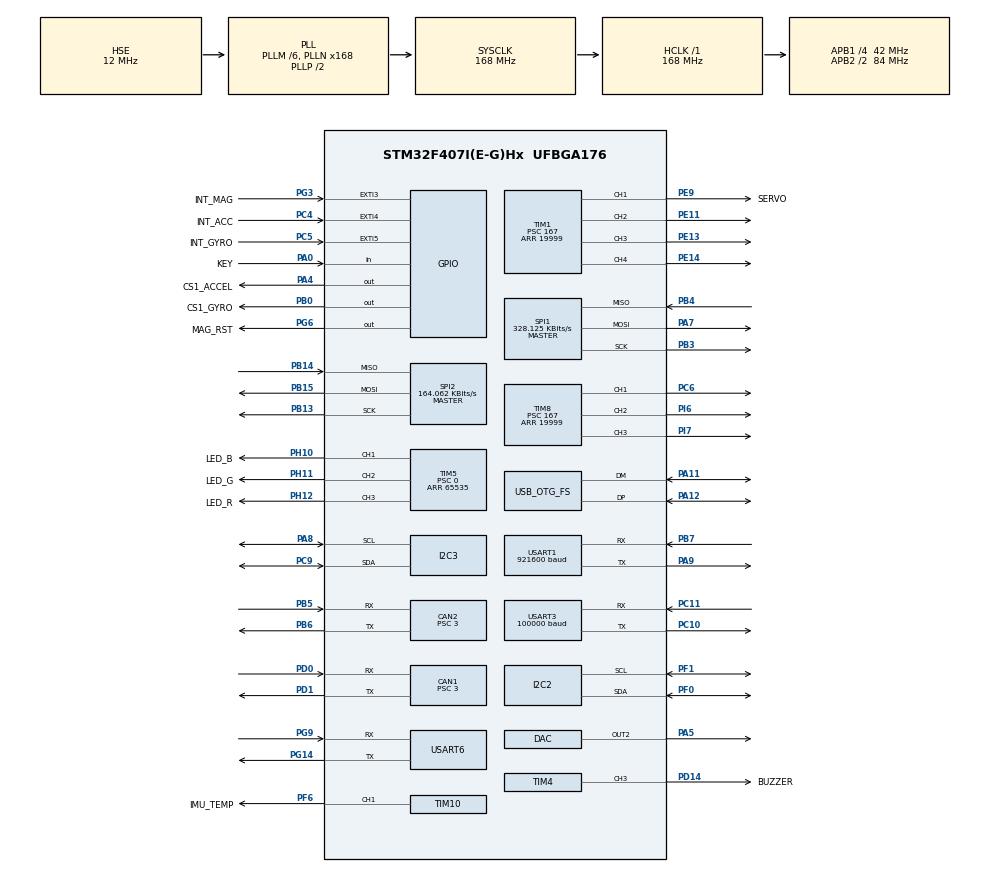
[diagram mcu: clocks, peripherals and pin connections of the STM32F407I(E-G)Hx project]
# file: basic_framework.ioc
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ADC1.Channel-0\#ChannelRegularConversion=ADC_CHANNEL_TEMPSENSOR
ADC1.ClockPrescaler=ADC_CLOCK_SYNC_PCLK_DIV6
ADC1.NbrOfConversionFlag=1
ADC1.Rank-0\#ChannelRegularConversion=1
ADC1.SamplingTime-0\#ChannelRegularConversion=ADC_SAMPLETIME_3CYCLES
ADC1.master=1
CAN1.BS1=CAN_BS1_10TQ
CAN1.BS2=CAN_BS2_3TQ
CAN1.CalculateBaudRate=1000000
CAN1.CalculateTimeQuantum=71.42857142857143
CAN1.NART=ENABLE
CAN1.Prescaler=3
CAN1.TXFP=ENABLE
CAN2.BS1=CAN_BS1_10TQ
CAN2.BS2=CAN_BS2_3TQ
CAN2.CalculateBaudRate=1000000
CAN2.CalculateTimeQuantum=71.42857142857143
CAN2.NART=ENABLE
CAN2.Prescaler=3
CAN2.TXFP=ENABLE
Dma.ADC1.8.Direction=DMA_PERIPH_TO_MEMORY
Dma.ADC1.8.FIFOMode=DMA_FIFOMODE_DISABLE
Dma.ADC1.8.Instance=DMA2_Stream4
Dma.ADC1.8.MemDataAlignment=DMA_MDATAALIGN_HALFWORD
Dma.ADC1.8.MemInc=DMA_MINC_ENABLE
Dma.ADC1.8.Mode=DMA_NORMAL
Dma.ADC1.8.PeriphDataAlignment=DMA_PDATAALIGN_HALFWORD
Dma.ADC1.8.PeriphInc=DMA_PINC_DISABLE
Dma.ADC1.8.Priority=DMA_PRIORITY_LOW
Dma.I2C2_RX.9.Direction=DMA_PERIPH_TO_MEMORY
Dma.I2C2_RX.9.FIFOMode=DMA_FIFOMODE_DISABLE
Dma.I2C2_RX.9.Instance=DMA1_Stream2
Dma.I2C2_RX.9.MemDataAlignment=DMA_MDATAALIGN_BYTE
Dma.I2C2_RX.9.MemInc=DMA_MINC_ENABLE
Dma.I2C2_RX.9.Mode=DMA_NORMAL
Dma.I2C2_RX.9.PeriphDataAlignment=DMA_PDATAALIGN_BYTE
Dma.I2C2_RX.9.PeriphInc=DMA_PINC_DISABLE
Dma.I2C2_RX.9.Priority=DMA_PRIORITY_LOW
Dma.I2C2_TX.10.Direction=DMA_MEMORY_TO_PERIPH
Dma.I2C2_TX.10.FIFOMode=DMA_FIFOMODE_DISABLE
Dma.I2C2_TX.10.Instance=DMA1_Stream7
Dma.I2C2_TX.10.MemDataAlignment=DMA_MDATAALIGN_BYTE
Dma.I2C2_TX.10.MemInc=DMA_MINC_ENABLE
Dma.I2C2_TX.10.Mode=DMA_NORMAL
Dma.I2C2_TX.10.PeriphDataAlignment=DMA_PDATAALIGN_BYTE
Dma.I2C2_TX.10.PeriphInc=DMA_PINC_DISABLE
Dma.I2C2_TX.10.Priority=DMA_PRIORITY_LOW
Dma.Request0=USART6_RX
Dma.Request1=USART6_TX
Dma.Request10=I2C2_TX
Dma.Request11=SPI1_TX
Dma.Request2=USART1_TX
Dma.Request3=USART1_RX
Dma.Request4=SPI1_RX
Dma.Request5=SPI2_RX
Dma.Request6=SPI2_TX
Dma.Request7=USART3_RX
Dma.Request8=ADC1
Dma.Request9=I2C2_RX
Dma.SPI1_RX.4.Direction=DMA_PERIPH_TO_MEMORY
Dma.SPI1_RX.4.FIFOMode=DMA_FIFOMODE_ENABLE
Dma.SPI1_RX.4.FIFOThreshold=DMA_FIFO_THRESHOLD_FULL
Dma.SPI1_RX.4.Instance=DMA2_Stream0
Dma.SPI1_RX.4.MemBurst=DMA_MBURST_SINGLE
Dma.SPI1_RX.4.MemDataAlignment=DMA_MDATAALIGN_BYTE
Dma.SPI1_RX.4.MemInc=DMA_MINC_ENABLE
Dma.SPI1_RX.4.Mode=DMA_NORMAL
Dma.SPI1_RX.4.PeriphBurst=DMA_PBURST_SINGLE
Dma.SPI1_RX.4.PeriphDataAlignment=DMA_PDATAALIGN_BYTE
Dma.SPI1_RX.4.PeriphInc=DMA_PINC_DISABLE
Dma.SPI1_RX.4.Priority=DMA_PRIORITY_LOW
Dma.SPI1_TX.11.Direction=DMA_MEMORY_TO_PERIPH
Dma.SPI1_TX.11.FIFOMode=DMA_FIFOMODE_DISABLE
Dma.SPI1_TX.11.Instance=DMA2_Stream3
Dma.SPI1_TX.11.MemDataAlignment=DMA_MDATAALIGN_BYTE
Dma.SPI1_TX.11.MemInc=DMA_MINC_ENABLE
Dma.SPI1_TX.11.Mode=DMA_NORMAL
Dma.SPI1_TX.11.PeriphDataAlignment=DMA_PDATAALIGN_BYTE
Dma.SPI1_TX.11.PeriphInc=DMA_PINC_DISABLE
Dma.SPI1_TX.11.Priority=DMA_PRIORITY_LOW
Dma.SPI2_RX.5.Direction=DMA_PERIPH_TO_MEMORY
Dma.SPI2_RX.5.FIFOMode=DMA_FIFOMODE_ENABLE
Dma.SPI2_RX.5.FIFOThreshold=DMA_FIFO_THRESHOLD_FULL
Dma.SPI2_RX.5.Instance=DMA1_Stream3
Dma.SPI2_RX.5.MemBurst=DMA_MBURST_SINGLE
Dma.SPI2_RX.5.MemDataAlignment=DMA_MDATAALIGN_BYTE
Dma.SPI2_RX.5.MemInc=DMA_MINC_ENABLE
Dma.SPI2_RX.5.Mode=DMA_NORMAL
Dma.SPI2_RX.5.PeriphBurst=DMA_PBURST_SINGLE
Dma.SPI2_RX.5.PeriphDataAlignment=DMA_PDATAALIGN_BYTE
Dma.SPI2_RX.5.PeriphInc=DMA_PINC_DISABLE
Dma.SPI2_RX.5.Priority=DMA_PRIORITY_LOW
Dma.SPI2_TX.6.Direction=DMA_MEMORY_TO_PERIPH
Dma.SPI2_TX.6.FIFOMode=DMA_FIFOMODE_ENABLE
Dma.SPI2_TX.6.FIFOThreshold=DMA_FIFO_THRESHOLD_FULL
Dma.SPI2_TX.6.Instance=DMA1_Stream4
Dma.SPI2_TX.6.MemBurst=DMA_MBURST_SINGLE
Dma.SPI2_TX.6.MemDataAlignment=DMA_MDATAALIGN_BYTE
Dma.SPI2_TX.6.MemInc=DMA_MINC_ENABLE
Dma.SPI2_TX.6.Mode=DMA_NORMAL
Dma.SPI2_TX.6.PeriphBurst=DMA_PBURST_SINGLE
Dma.SPI2_TX.6.PeriphDataAlignment=DMA_PDATAALIGN_BYTE
Dma.SPI2_TX.6.PeriphInc=DMA_PINC_DISABLE
Dma.SPI2_TX.6.Priority=DMA_PRIORITY_LOW
Dma.USART1_RX.3.Direction=DMA_PERIPH_TO_MEMORY
Dma.USART1_RX.3.FIFOMode=DMA_FIFOMODE_DISABLE
Dma.USART1_RX.3.Instance=DMA2_Stream5
Dma.USART1_RX.3.MemDataAlignment=DMA_MDATAALIGN_BYTE
Dma.USART1_RX.3.MemInc=DMA_MINC_ENABLE
Dma.USART1_RX.3.Mode=DMA_NORMAL
Dma.USART1_RX.3.PeriphDataAlignment=DMA_PDATAALIGN_BYTE
Dma.USART1_RX.3.PeriphInc=DMA_PINC_DISABLE
Dma.USART1_RX.3.Priority=DMA_PRIORITY_VERY_HIGH
Dma.USART1_TX.2.Direction=DMA_MEMORY_TO_PERIPH
Dma.USART1_TX.2.FIFOMode=DMA_FIFOMODE_DISABLE
Dma.USART1_TX.2.Instance=DMA2_Stream7
Dma.USART1_TX.2.MemDataAlignment=DMA_MDATAALIGN_BYTE
Dma.USART1_TX.2.MemInc=DMA_MINC_ENABLE
Dma.USART1_TX.2.Mode=DMA_NORMAL
Dma.USART1_TX.2.PeriphDataAlignment=DMA_PDATAALIGN_BYTE
Dma.USART1_TX.2.PeriphInc=DMA_PINC_DISABLE
Dma.USART1_TX.2.Priority=DMA_PRIORITY_VERY_HIGH
Dma.USART3_RX.7.Direction=DMA_PERIPH_TO_MEMORY
Dma.USART3_RX.7.FIFOMode=DMA_FIFOMODE_DISABLE
Dma.USART3_RX.7.Instance=DMA1_Stream1
Dma.USART3_RX.7.MemDataAlignment=DMA_MDATAALIGN_BYTE
Dma.USART3_RX.7.MemInc=DMA_MINC_ENABLE
Dma.USART3_RX.7.Mode=DMA_NORMAL
Dma.USART3_RX.7.PeriphDataAlignment=DMA_PDATAALIGN_BYTE
Dma.USART3_RX.7.PeriphInc=DMA_PINC_DISABLE
Dma.USART3_RX.7.Priority=DMA_PRIORITY_LOW
Dma.USART6_RX.0.Direction=DMA_PERIPH_TO_MEMORY
Dma.USART6_RX.0.FIFOMode=DMA_FIFOMODE_ENABLE
Dma.USART6_RX.0.FIFOThreshold=DMA_FIFO_THRESHOLD_FULL
Dma.USART6_RX.0.Instance=DMA2_Stream2
Dma.USART6_RX.0.MemBurst=DMA_MBURST_SINGLE
Dma.USART6_RX.0.MemDataAlignment=DMA_MDATAALIGN_BYTE
Dma.USART6_RX.0.MemInc=DMA_MINC_ENABLE
Dma.USART6_RX.0.Mode=DMA_NORMAL
Dma.USART6_RX.0.PeriphBurst=DMA_PBURST_SINGLE
Dma.USART6_RX.0.PeriphDataAlignment=DMA_PDATAALIGN_BYTE
Dma.USART6_RX.0.PeriphInc=DMA_PINC_DISABLE
Dma.USART6_RX.0.Priority=DMA_PRIORITY_HIGH
Dma.USART6_TX.1.Direction=DMA_MEMORY_TO_PERIPH
Dma.USART6_TX.1.FIFOMode=DMA_FIFOMODE_ENABLE
Dma.USART6_TX.1.FIFOThreshold=DMA_FIFO_THRESHOLD_FULL
Dma.USART6_TX.1.Instance=DMA2_Stream6
Dma.USART6_TX.1.MemBurst=DMA_MBURST_SINGLE
Dma.USART6_TX.1.MemDataAlignment=DMA_MDATAALIGN_BYTE
Dma.USART6_TX.1.MemInc=DMA_MINC_ENABLE
Dma.USART6_TX.1.Mode=DMA_NORMAL
Dma.USART6_TX.1.PeriphBurst=DMA_PBURST_SINGLE
Dma.USART6_TX.1.PeriphDataAlignment=DMA_PDATAALIGN_BYTE
Dma.USART6_TX.1.PeriphInc=DMA_PINC_DISABLE
Dma.USART6_TX.1.Priority=DMA_PRIORITY_HIGH
FREERTOS.INCLUDE_vTaskDelayUntil=1
FREERTOS.Tasks01=defaultTask,0,128,StartDefaultTask,Default,NULL,Dynamic,NULL,NULL
FREERTOS.configENABLE_FPU=1
FREERTOS.configMAX_TASK_NAME_LEN=32
FREERTOS.configUSE_POSIX_ERRNO=0
FREERTOS.configUSE_TIMERS=0
I2C2.I2C_Mode=I2C_Fast
I2C3.I2C_Mode=I2C_Fast
Mcu.Family=STM32F4
Mcu.Name=STM32F407I(E-G)Hx
Mcu.Package=UFBGA176
NVIC.CAN1_RX0_IRQn=true\:5\:0\:true\:false\:true\:true\:true\:true\:true
NVIC.CAN1_RX1_IRQn=true\:5\:0\:false\:false\:true\:true\:true\:true\:true
NVIC.CAN2_RX0_IRQn=true\:5\:0\:true\:false\:true\:true\:true\:true\:true
NVIC.CAN2_RX1_IRQn=true\:5\:0\:false\:false\:true\:true\:true\:true\:true
NVIC.DMA1_Stream1_IRQn=true\:5\:0\:false\:false\:true\:true\:false\:true\:true
NVIC.DMA1_Stream2_IRQn=true\:5\:0\:false\:false\:true\:true\:false\:true\:true
NVIC.DMA1_Stream3_IRQn=true\:5\:0\:false\:false\:true\:true\:false\:true\:true
NVIC.DMA1_Stream4_IRQn=true\:5\:0\:false\:false\:true\:true\:false\:true\:true
NVIC.DMA1_Stream7_IRQn=true\:5\:0\:false\:false\:true\:true\:false\:true\:true
NVIC.DMA2_Stream0_IRQn=true\:5\:0\:false\:false\:true\:true\:false\:true\:true
NVIC.DMA2_Stream2_IRQn=true\:5\:0\:false\:false\:true\:true\:false\:true\:true
NVIC.DMA2_Stream3_IRQn=true\:5\:0\:false\:false\:true\:true\:false\:true\:true
NVIC.DMA2_Stream4_IRQn=true\:5\:0\:false\:false\:true\:true\:false\:true\:true
NVIC.DMA2_Stream5_IRQn=true\:5\:0\:false\:false\:true\:true\:false\:true\:true
NVIC.DMA2_Stream6_IRQn=true\:5\:0\:true\:false\:true\:true\:false\:true\:true
NVIC.DMA2_Stream7_IRQn=true\:5\:0\:true\:false\:true\:true\:false\:true\:true
NVIC.EXTI3_IRQn=true\:5\:0\:true\:false\:true\:true\:true\:true\:true
NVIC.EXTI4_IRQn=true\:5\:0\:false\:false\:true\:true\:true\:true\:true
NVIC.EXTI9_5_IRQn=true\:5\:0\:false\:false\:true\:true\:true\:true\:true
NVIC.I2C2_ER_IRQn=true\:5\:0\:false\:false\:true\:true\:true\:true\:true
NVIC.I2C2_EV_IRQn=true\:5\:0\:false\:false\:true\:true\:true\:true\:true
NVIC.I2C3_ER_IRQn=true\:5\:0\:false\:false\:true\:true\:true\:true\:true
NVIC.I2C3_EV_IRQn=true\:5\:0\:false\:false\:true\:true\:true\:true\:true
NVIC.OTG_FS_IRQn=true\:5\:0\:false\:false\:true\:true\:false\:true\:true
NVIC.PriorityGroup=NVIC_PRIORITYGROUP_4
NVIC.SPI1_IRQn=true\:5\:0\:false\:false\:true\:true\:true\:true\:true
NVIC.SPI2_IRQn=true\:5\:0\:false\:false\:true\:true\:true\:true\:true
NVIC.TIM8_TRG_COM_TIM14_IRQn=true\:15\:0\:false\:false\:true\:false\:false\:true\:true
NVIC.TimeBase=TIM8_TRG_COM_TIM14_IRQn
NVIC.TimeBaseIP=TIM14
NVIC.USART1_IRQn=true\:5\:0\:false\:false\:true\:true\:true\:true\:true
NVIC.USART3_IRQn=true\:5\:0\:false\:false\:true\:true\:true\:true\:true
NVIC.USART6_IRQn=true\:5\:0\:false\:false\:true\:true\:true\:true\:true
PA0-WKUP.GPIO_Label=KEY
PA0-WKUP.GPIO_PuPd=GPIO_PULLUP
PA0-WKUP.Signal=GPIO_Input
PA10.Signal=USB_OTG_FS_ID
PA11.Mode=Device_Only
PA11.Signal=USB_OTG_FS_DM
PA12.Mode=Device_Only
PA12.Signal=USB_OTG_FS_DP
PA13.Mode=Serial_Wire
PA13.Signal=SYS_JTMS-SWDIO
PA14.Mode=Serial_Wire
PA14.Signal=SYS_JTCK-SWCLK
PA4.GPIO_Label=CS1_ACCEL
PA4.GPIO_PuPd=GPIO_PULLUP
PA4.GPIO_Speed=GPIO_SPEED_FREQ_HIGH
PA4.PinState=GPIO_PIN_SET
PA4.Signal=GPIO_Output
PA5.Signal=COMP_DAC2_group
PA7.GPIO_PuPd=GPIO_PULLUP
PA7.Mode=Full_Duplex_Master
PA7.Signal=SPI1_MOSI
PA8.Mode=I2C
PA8.Signal=I2C3_SCL
PA9.Mode=Asynchronous
PA9.Signal=USART1_TX
PB0.GPIO_Label=CS1_GYRO
PB0.GPIO_PuPd=GPIO_PULLUP
PB0.GPIO_Speed=GPIO_SPEED_FREQ_HIGH
PB0.PinState=GPIO_PIN_SET
PB0.Signal=GPIO_Output
PB13.Mode=Full_Duplex_Master
PB13.Signal=SPI2_SCK
PB14.Mode=Full_Duplex_Master
PB14.Signal=SPI2_MISO
PB15.Mode=Full_Duplex_Master
PB15.Signal=SPI2_MOSI
PB3.GPIO_PuPd=GPIO_PULLUP
PB3.Mode=Full_Duplex_Master
PB3.Signal=SPI1_SCK
PB4.GPIO_PuPd=GPIO_PULLUP
PB4.Mode=Full_Duplex_Master
PB4.Signal=SPI1_MISO
PB5.Mode=CAN_Activate
PB5.Signal=CAN2_RX
PB6.Mode=CAN_Activate
PB6.Signal=CAN2_TX
PB7.Mode=Asynchronous
PB7.Signal=USART1_RX
PC10.Mode=Asynchronous
PC10.Signal=USART3_TX
PC11.Mode=Asynchronous
PC11.Signal=USART3_RX
PC4.GPIO_Label=INT_ACC
PC4.GPIO_ModeDefaultEXTI=GPIO_MODE_IT_FALLING
PC4.Signal=GPXTI4
PC5.GPIO_Label=INT_GYRO
PC5.GPIO_ModeDefaultEXTI=GPIO_MODE_IT_FALLING
PC5.Signal=GPXTI5
PC6.Signal=S_TIM8_CH1
PC9.Mode=I2C
PC9.Signal=I2C3_SDA
PD0.Mode=CAN_Activate
PD0.Signal=CAN1_RX
PD1.Mode=CAN_Activate
PD1.Signal=CAN1_TX
PD14.GPIO_Label=BUZZER
PD14.GPIO_PuPd=GPIO_PULLUP
PD14.GPIO_Speed=GPIO_SPEED_FREQ_VERY_HIGH
PD14.Signal=S_TIM4_CH3
PE11.Signal=S_TIM1_CH2
PE13.Signal=S_TIM1_CH3
PE14.Signal=S_TIM1_CH4
PE9.GPIO_Label=SERVO
PE9.Signal=S_TIM1_CH1
PF0.Mode=I2C
PF0.Signal=I2C2_SDA
PF1.Mode=I2C
PF1.Signal=I2C2_SCL
PF6.GPIO_Label=IMU_TEMP
PF6.GPIO_PuPd=GPIO_PULLUP
PF6.GPIO_Speed=GPIO_SPEED_FREQ_HIGH
PF6.Signal=S_TIM10_CH1
PG14.Mode=Asynchronous
PG14.Signal=USART6_TX
PG3.GPIO_Label=INT_MAG
PG3.GPIO_ModeDefaultEXTI=GPIO_MODE_IT_FALLING
PG3.GPIO_PuPd=GPIO_PULLUP
PG3.Signal=GPXTI3
PG6.GPIO_Label=MAG_RST
PG6.Signal=GPIO_Output
PG9.Mode=Asynchronous
PG9.Signal=USART6_RX
PH0-OSC_IN.Mode=HSE-External-Oscillator
PH0-OSC_IN.Signal=RCC_OSC_IN
PH1-OSC_OUT.Mode=HSE-External-Oscillator
PH1-OSC_OUT.Signal=RCC_OSC_OUT
PH10.GPIO_Label=LED_B
PH10.GPIO_PuPd=GPIO_PULLUP
PH10.GPIO_Speed=GPIO_SPEED_FREQ_HIGH
PH10.Signal=S_TIM5_CH1
PH11.GPIO_Label=LED_G
PH11.GPIO_PuPd=GPIO_PULLUP
PH11.GPIO_Speed=GPIO_SPEED_FREQ_HIGH
PH11.Signal=S_TIM5_CH2
PH12.GPIO_Label=LED_R
PH12.GPIO_PuPd=GPIO_PULLUP
PH12.GPIO_Speed=GPIO_SPEED_FREQ_HIGH
PH12.Signal=S_TIM5_CH3
PI6.Signal=S_TIM8_CH2
PI7.Signal=S_TIM8_CH3
ProjectManager.HeapSize=0x4000
ProjectManager.StackSize=0x4000
ProjectManager.TargetToolchain=Makefile
RCC.48MHZClocksFreq_Value=48000000
RCC.AHBFreq_Value=168000000
RCC.APB1CLKDivider=RCC_HCLK_DIV4
RCC.APB1Freq_Value=42000000
RCC.APB1TimFreq_Value=84000000
RCC.APB2CLKDivider=RCC_HCLK_DIV2
RCC.APB2Freq_Value=84000000
RCC.APB2TimFreq_Value=168000000
RCC.CortexFreq_Value=168000000
RCC.HCLKFreq_Value=168000000
RCC.HSE_VALUE=12000000
RCC.HSI_VALUE=16000000
RCC.LSE_VALUE=32768
RCC.PLLM=6
RCC.PLLN=168
RCC.PLLQ=7
RCC.RCC_RTC_Clock_SourceVirtual=RCC_RTCCLKSOURCE_HSE_DIV30
RCC.RCC_RTC_Clock_Source_FROM_HSE=RCC_RTCCLKSOURCE_HSE_DIV30
RCC.SYSCLKFreq_VALUE=168000000
RCC.SYSCLKSource=RCC_SYSCLKSOURCE_PLLCLK
RCC.VCOOutputFreq_Value=336000000
RTC.AsynchPrediv=124
RTC.SynchPrediv=3199
SH.COMP_DAC2_group.0=DAC_OUT2,DAC_OUT2
SH.S_TIM10_CH1.0=TIM10_CH1,PWM Generation1 CH1
SH.S_TIM1_CH1.0=TIM1_CH1,PWM Generation1 CH1
SH.S_TIM1_CH2.0=TIM1_CH2,PWM Generation2 CH2
SH.S_TIM1_CH3.0=TIM1_CH3,PWM Generation3 CH3
SH.S_TIM1_CH4.0=TIM1_CH4,PWM Generation4 CH4
SH.S_TIM4_CH3.0=TIM4_CH3,PWM Generation3 CH3
SH.S_TIM5_CH1.0=TIM5_CH1,PWM Generation1 CH1
SH.S_TIM5_CH2.0=TIM5_CH2,PWM Generation2 CH2
SH.S_TIM5_CH3.0=TIM5_CH3,PWM Generation3 CH3
SH.S_TIM8_CH1.0=TIM8_CH1,Output Compare1 CH1
SH.S_TIM8_CH2.0=TIM8_CH2,Output Compare2 CH2
SH.S_TIM8_CH3.0=TIM8_CH3,Output Compare3 CH3
SPI1.BaudRatePrescaler=SPI_BAUDRATEPRESCALER_256
SPI1.CLKPhase=SPI_PHASE_2EDGE
SPI1.CLKPolarity=SPI_POLARITY_HIGH
SPI1.CalculateBaudRate=328.125 KBits/s
SPI1.Direction=SPI_DIRECTION_2LINES
SPI1.Mode=SPI_MODE_MASTER
SPI1.VirtualType=VM_MASTER
SPI2.BaudRatePrescaler=SPI_BAUDRATEPRESCALER_256
SPI2.CLKPhase=SPI_PHASE_2EDGE
SPI2.CLKPolarity=SPI_POLARITY_HIGH
SPI2.CalculateBaudRate=164.062 KBits/s
SPI2.Direction=SPI_DIRECTION_2LINES
SPI2.Mode=SPI_MODE_MASTER
SPI2.VirtualType=VM_MASTER
STMicroelectronics.X-CUBE-ALGOBUILD.1.3.0.LibraryCcDSPOoLibraryJjDSPOoLibrary=true
TIM1.Channel-PWM\ Generation1\ CH1=TIM_CHANNEL_1
TIM1.Channel-PWM\ Generation2\ CH2=TIM_CHANNEL_2
TIM1.Channel-PWM\ Generation3\ CH3=TIM_CHANNEL_3
TIM1.Channel-PWM\ Generation4\ CH4=TIM_CHANNEL_4
TIM1.Period=19999
TIM1.Prescaler=167
TIM10.Channel=TIM_CHANNEL_1
TIM10.Period=5000-1
TIM10.Prescaler=167
TIM4.Channel-PWM\ Generation3\ CH3=TIM_CHANNEL_3
TIM4.Period=65535
TIM4.Prescaler=167
TIM5.Channel-PWM\ Generation1\ CH1=TIM_CHANNEL_1
TIM5.Channel-PWM\ Generation2\ CH2=TIM_CHANNEL_2
TIM5.Channel-PWM\ Generation3\ CH3=TIM_CHANNEL_3
TIM5.Period=65535
TIM5.Prescaler=0
TIM8.Channel-Output\ Compare1\ CH1=TIM_CHANNEL_1
TIM8.Channel-Output\ Compare2\ CH2=TIM_CHANNEL_2
TIM8.Channel-Output\ Compare3\ CH3=TIM_CHANNEL_3
TIM8.Period=19999
TIM8.Prescaler=167
USART1.BaudRate=921600
USART1.VirtualMode=VM_ASYNC
USART3.BaudRate=100000
USART3.Parity=PARITY_EVEN
USART3.VirtualMode=VM_ASYNC
USART3.WordLength=WORDLENGTH_9B
USART6.VirtualMode=VM_ASYNC
USB_DEVICE.CLASS_NAME_FS=CDC
USB_DEVICE.MANUFACTURER_STRING-CDC_FS=YueLuEmbedded
USB_DEVICE.PID_CDC_FS=202
USB_DEVICE.PRODUCT_STRING_CDC_FS=Vision Comm port
USB_DEVICE.VirtualMode-CDC_FS=Cdc
USB_DEVICE.VirtualModeFS=Cdc_FS
USB_OTG_FS.VirtualMode=Device_Only
VP_ADC1_TempSens_Input.Mode=IN-TempSens
VP_ADC1_Vref_Input.Mode=IN-Vrefint
VP_CRC_VS_CRC.Mode=CRC_Activate
VP_FREERTOS_VS_CMSIS_V1.Mode=CMSIS_V1
VP_RNG_VS_RNG.Mode=RNG_Activate
VP_RTC_VS_RTC_Activate.Mode=RTC_Enabled
VP_STMicroelectronics.X-CUBE-ALGOBUILD_VS_DSPOoLibraryJjLibrary_1.3.0_1.3.0.Mode=DSPOoLibraryJjLibrary
VP_SYS_VS_tim14.Mode=TIM14
VP_TIM10_VS_ClockSourceINT.Mode=Enable_Timer
VP_TIM1_VS_ClockSourceINT.Mode=Internal
VP_TIM4_VS_ClockSourceINT.Mode=Internal
VP_TIM5_VS_ClockSourceINT.Mode=Internal
VP_TIM8_VS_ClockSourceINT.Mode=Internal
VP_USB_DEVICE_VS_USB_DEVICE_CDC_FS.Mode=CDC_FS
board=custom

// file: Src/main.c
/* USER CODE BEGIN Header */
/**
  ******************************************************************************
  * @file           : main.c
  * @brief          : Main program body
  ******************************************************************************
  * @attention
  *
  * Copyright (c) 2023 STMicroelectronics.
  * All rights reserved.
  *
  * This software is licensed under terms that can be found in the LICENSE file
  * in the root directory of this software component.
  * If no LICENSE file comes with this software, it is provided AS-IS.
  *
  ******************************************************************************
  */
/* USER CODE END Header */
#include "main.h"
#include "cmsis_os.h"
#include "adc.h"
#include "can.h"
#include "crc.h"
#include "dac.h"
#include "dma.h"
#include "i2c.h"
#include "rng.h"
#include "rtc.h"
#include "spi.h"
#include "tim.h"
#include "usart.h"
#include "usb_device.h"
#include "gpio.h"

/* USER CODE BEGIN Includes */
#include "robot.h"
/* USER CODE END Includes */

void SystemClock_Config(void);
void MX_FREERTOS_Init(void);

int main(void)
   {

  /* MCU Configuration--------------------------------------------------------*/

  /* Reset of all peripherals, Initializes the Flash interface and the Systick. */
  HAL_Init();

  /* Configure the system clock */
  SystemClock_Config();

  /* Initialize all configured peripherals */
  MX_GPIO_Init();
  MX_DMA_Init();
  MX_ADC1_Init();
  MX_CAN1_Init();
  MX_CAN2_Init();
  MX_SPI1_Init();
  MX_TIM4_Init();
  MX_TIM5_Init();
  MX_USART3_UART_Init();
  MX_RNG_Init();
  MX_RTC_Init();
  MX_TIM1_Init();
  MX_TIM10_Init();
  MX_USART1_UART_Init();
  MX_USART6_UART_Init();
  MX_TIM8_Init();
  MX_I2C2_Init();
  MX_I2C3_Init();
  MX_SPI2_Init();
  MX_CRC_Init();
  MX_DAC_Init();
  /* USER CODE BEGIN 2 */
	RobotInit();
  /* USER CODE END 2 */

  /* Call init function for freertos objects (in freertos.c) */
  MX_FREERTOS_Init();

  /* Start scheduler */
  osKernelStart();

  /* We should never get here as control is now taken by the scheduler */
  /* Infinite loop */
  while (1)
  {

  }
}

void SystemClock_Config(void)
{
  RCC_OscInitTypeDef RCC_OscInitStruct = {0};
  RCC_ClkInitTypeDef RCC_ClkInitStruct = {0};

  /** Configure the main internal regulator output voltage
  */
  __HAL_RCC_PWR_CLK_ENABLE();
  __HAL_PWR_VOLTAGESCALING_CONFIG(PWR_REGULATOR_VOLTAGE_SCALE1);

  /** Initializes the RCC Oscillators according to the specified parameters
  * in the RCC_OscInitTypeDef structure.
  */
  RCC_OscInitStruct.OscillatorType = RCC_OSCILLATORTYPE_HSE;
  RCC_OscInitStruct.HSEState = RCC_HSE_ON;
  RCC_OscInitStruct.PLL.PLLState = RCC_PLL_ON;
  RCC_OscInitStruct.PLL.PLLSource = RCC_PLLSOURCE_HSE;
  RCC_OscInitStruct.PLL.PLLM = 6;
  RCC_OscInitStruct.PLL.PLLN = 168;
  RCC_OscInitStruct.PLL.PLLP = RCC_PLLP_DIV2;
  RCC_OscInitStruct.PLL.PLLQ = 7;
  if (HAL_RCC_OscConfig(&RCC_OscInitStruct) != HAL_OK)
  {
    Error_Handler();
  }

  /** Initializes the CPU, AHB and APB buses clocks
  */
  RCC_ClkInitStruct.ClockType = RCC_CLOCKTYPE_HCLK|RCC_CLOCKTYPE_SYSCLK
                              |RCC_CLOCKTYPE_PCLK1|RCC_CLOCKTYPE_PCLK2;
  RCC_ClkInitStruct.SYSCLKSource = RCC_SYSCLKSOURCE_PLLCLK;
  RCC_ClkInitStruct.AHBCLKDivider = RCC_SYSCLK_DIV1;
  RCC_ClkInitStruct.APB1CLKDivider = RCC_HCLK_DIV4;
  RCC_ClkInitStruct.APB2CLKDivider = RCC_HCLK_DIV2;

  if (HAL_RCC_ClockConfig(&RCC_ClkInitStruct, FLASH_LATENCY_5) != HAL_OK)
  {
    Error_Handler();
  }
}

void HAL_TIM_PeriodElapsedCallback(TIM_HandleTypeDef *htim)
{
  if (htim->Instance == TIM14) {
    HAL_IncTick();
  }
}

void Error_Handler(void)
{
  __disable_irq();
  while (1)
  {
  }
}

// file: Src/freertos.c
/* USER CODE BEGIN Header */
/**
 ******************************************************************************
 * File Name          : freertos.c
 * Description        : Code for freertos applications
 ******************************************************************************
 * @attention
 *
 * Copyright (c) 2023 STMicroelectronics.
 * All rights reserved.
 *
 * This software is licensed under terms that can be found in the LICENSE file
 * in the root directory of this software component.
 * If no LICENSE file comes with this software, it is provided AS-IS.
 *
 ******************************************************************************
 */
/* USER CODE END Header */

#include "FreeRTOS.h"
#include "task.h"
#include "main.h"
#include "cmsis_os.h"

/* USER CODE BEGIN Includes */
#include "ins_task.h"
// #include "motor_task.h"
// #include "led_task.h"
// #include "referee_task.h"
#include "master_process.h"
#include "daemon.h"
#include "robot.h"
/* USER CODE END Includes */

/* USER CODE BEGIN Variables */
osThreadId insTaskHandle;
osThreadId ledTaskHandle;
osThreadId robotTaskHandle;
osThreadId motorTaskHandle;
osThreadId daemonTaskHandle;
osThreadId uiTaskHandle;
/* USER CODE END Variables */
osThreadId defaultTaskHandle;

/* USER CODE BEGIN FunctionPrototypes */
void StartINSTASK(void const *argument);

void StartDAEMONTASK(void const *argument);

/* USER CODE END FunctionPrototypes */

void StartDefaultTask(void const * argument);

extern void MX_USB_DEVICE_Init(void);
void MX_FREERTOS_Init(void); /* (MISRA C 2004 rule 8.1) */

/* GetIdleTaskMemory prototype (linked to static allocation support) */
void vApplicationGetIdleTaskMemory( StaticTask_t **ppxIdleTaskTCBBuffer, StackType_t **ppxIdleTaskStackBuffer, uint32_t *pulIdleTaskStackSize );

/* USER CODE BEGIN GET_IDLE_TASK_MEMORY */
static StaticTask_t xIdleTaskTCBBuffer;
static StackType_t xIdleStack[configMINIMAL_STACK_SIZE];

void vApplicationGetIdleTaskMemory(StaticTask_t **ppxIdleTaskTCBBuffer, StackType_t **ppxIdleTaskStackBuffer, uint32_t *pulIdleTaskStackSize)
{
  *ppxIdleTaskTCBBuffer = &xIdleTaskTCBBuffer;
  *ppxIdleTaskStackBuffer = &xIdleStack[0];
  *pulIdleTaskStackSize = configMINIMAL_STACK_SIZE;
  /* place for user code */
}
/* USER CODE END GET_IDLE_TASK_MEMORY */

void MX_FREERTOS_Init(void) {

  /* Create the thread(s) */
  /* definition and creation of defaultTask */
  osThreadDef(defaultTask, StartDefaultTask, osPriorityNormal, 0, 128);
  defaultTaskHandle = osThreadCreate(osThread(defaultTask), NULL);

  /* USER CODE BEGIN RTOS_THREADS */
  /* add threads, ... */
  osThreadDef(instask, StartINSTASK, osPriorityNormal, 0, 1024);
  insTaskHandle = osThreadCreate(osThread(instask), NULL);

  osThreadDef(daemontask, StartDAEMONTASK, osPriorityNormal, 0, 128);
  daemonTaskHandle = osThreadCreate(osThread(daemontask), NULL);

  /* USER CODE END RTOS_THREADS */

}

void StartDefaultTask(void const * argument)
{
  /* init code for USB_DEVICE */
  MX_USB_DEVICE_Init();
  /* USER CODE BEGIN StartDefaultTask */
  vTaskDelete( NULL );
  /* USER CODE END StartDefaultTask */
}

/* USER CODE BEGIN Application */
void StartINSTASK(void const *argument)
{
  while (1)
  {
    // 1kHz
    INS_Task();
    osDelay(1);
  }
}

void StartDAEMONTASK(void const *argument)
{
  while (1)
  {
    // 100Hz
    DaemonTask();
    osDelay(10);
  }
}

/* USER CODE END Application */
